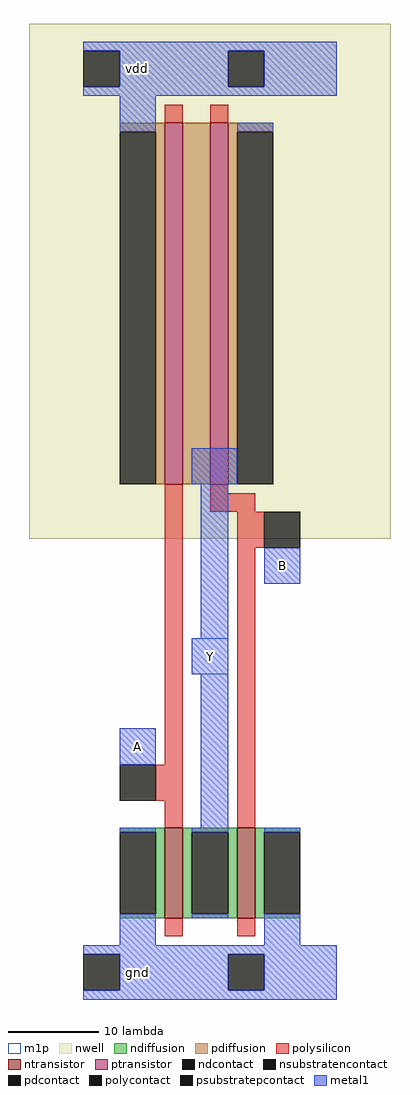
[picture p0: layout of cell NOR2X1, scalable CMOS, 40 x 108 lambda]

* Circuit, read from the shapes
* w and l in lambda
.subckt NOR2X1 A B Y vdd gnd
M1 Y A gnd gnd nfet w=10 l=2
M2 gnd B Y gnd nfet w=10 l=2
M3 n1 A vdd vdd pfet w=40 l=2
M4 Y B n1 vdd pfet w=40 l=2
.ends

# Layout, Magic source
magic
tech scmos
magscale 1 2
<< nwell >>
rect -16 96 64 210
<< ntransistor >>
rect 14 12 18 32
rect 30 12 34 32
<< ptransistor >>
rect 14 108 18 188
rect 24 108 28 188
<< ndiffusion >>
rect 4 31 14 32
rect 12 13 14 31
rect 4 12 14 13
rect 18 31 30 32
rect 18 13 20 31
rect 28 13 30 31
rect 18 12 30 13
rect 34 31 44 32
rect 34 13 36 31
rect 34 12 44 13
<< pdiffusion >>
rect 4 186 14 188
rect 12 108 14 186
rect 18 108 24 188
rect 28 186 38 188
rect 28 108 30 186
<< ndcontact >>
rect 4 13 12 31
rect 20 13 28 31
rect 36 13 44 31
<< pdcontact >>
rect 4 108 12 186
rect 30 108 38 186
<< psubstratepcontact >>
rect -4 -4 4 4
rect 28 -4 36 4
<< nsubstratencontact >>
rect -4 196 4 204
rect 28 196 36 204
<< polysilicon >>
rect 14 188 18 192
rect 24 188 28 192
rect 14 46 18 108
rect 24 106 28 108
rect 24 102 34 106
rect 12 38 18 46
rect 14 32 18 38
rect 30 94 36 102
rect 30 32 34 94
rect 14 8 18 12
rect 30 8 34 12
<< polycontact >>
rect 4 38 12 46
rect 36 94 44 102
<< metal1 >>
rect -4 204 52 206
rect 4 196 28 204
rect 36 196 52 204
rect -4 194 52 196
rect 4 186 12 194
rect 30 186 38 188
rect 20 108 30 116
rect 22 74 28 108
rect 36 86 44 94
rect 20 66 28 74
rect 4 46 12 54
rect 22 32 28 66
rect 4 31 12 32
rect 4 6 12 13
rect 20 31 28 32
rect 20 12 28 13
rect 36 31 44 32
rect 36 6 44 13
rect -4 4 52 6
rect 4 -4 28 4
rect 36 -4 52 4
rect -4 -6 52 -4
<< m1p >>
rect 36 86 44 94
rect 20 66 28 74
rect 4 46 12 54
<< labels >>
rlabel metal1 8 200 8 200 4 vdd
port 4 se
rlabel metal1 40 90 40 90 4 B
port 2 se
rlabel metal1 8 0 8 0 4 gnd
port 5 se
rlabel metal1 24 70 24 70 4 Y
port 3 se
rlabel metal1 8 50 8 50 4 A
port 1 se
<< end >>
